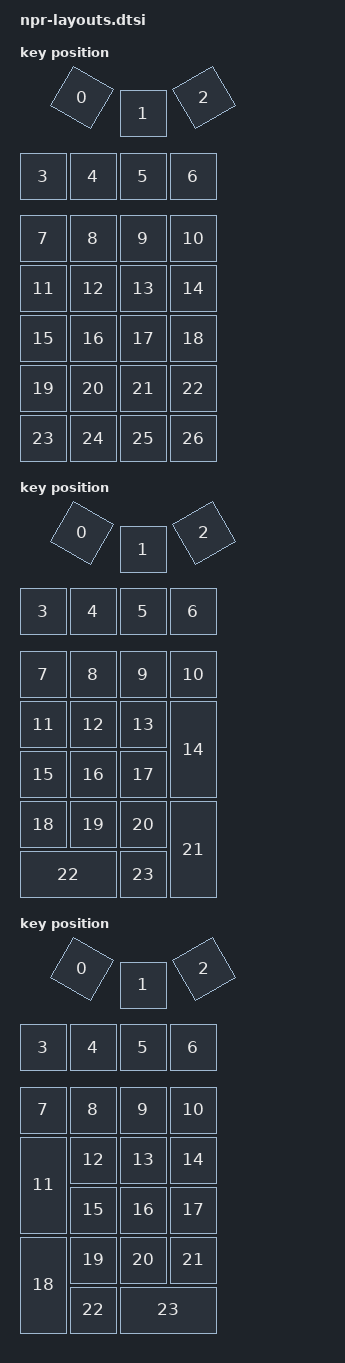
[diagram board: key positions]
#include <physical_layouts.dtsi>
/ {
    physical_layout0: physical_layout_0 {
        compatible = "zmk,physical-layout";
        display-name = "NP-R Full";
        kscan = <&kscan0>;
        transform = <&matrix_transform_full>;

        keys  //                     w   h    x    y     rot    rx    ry
            = <&key_physical_attrs 100 100  150    0    3000   225 (-100)>
            , <&key_physical_attrs 100 100  200    0       0     0     0>
            , <&key_physical_attrs 100 100  250    0 (-3000)   275 (-100)>
            , <&key_physical_attrs 100 100    0  125       0     0     0>
            , <&key_physical_attrs 100 100  100  125       0     0     0>
            , <&key_physical_attrs 100 100  200  125       0     0     0>
            , <&key_physical_attrs 100 100  300  125       0     0     0>
            , <&key_physical_attrs 100 100    0  250       0     0     0>
            , <&key_physical_attrs 100 100  100  250       0     0     0>
            , <&key_physical_attrs 100 100  200  250       0     0     0>
            , <&key_physical_attrs 100 100  300  250       0     0     0>
            , <&key_physical_attrs 100 100    0  350       0     0     0>
            , <&key_physical_attrs 100 100  100  350       0     0     0>
            , <&key_physical_attrs 100 100  200  350       0     0     0>
            , <&key_physical_attrs 100 100  300  350       0     0     0>
            , <&key_physical_attrs 100 100    0  450       0     0     0>
            , <&key_physical_attrs 100 100  100  450       0     0     0>
            , <&key_physical_attrs 100 100  200  450       0     0     0>
            , <&key_physical_attrs 100 100  300  450       0     0     0>
            , <&key_physical_attrs 100 100    0  550       0     0     0>
            , <&key_physical_attrs 100 100  100  550       0     0     0>
            , <&key_physical_attrs 100 100  200  550       0     0     0>
            , <&key_physical_attrs 100 100  300  550       0     0     0>
            , <&key_physical_attrs 100 100    0  650       0     0     0>
            , <&key_physical_attrs 100 100  100  650       0     0     0>
            , <&key_physical_attrs 100 100  200  650       0     0     0>
            , <&key_physical_attrs 100 100  300  650       0     0     0>
            ;
    };

    physical_layout1: physical_layout_1 {
        compatible = "zmk,physical-layout";
        display-name = "NP-R Standard";
        kscan = <&kscan0>;
        transform = <&matrix_transform_standard>;

        keys  //                     w   h    x    y     rot    rx    ry
            = <&key_physical_attrs 100 100  150    0    3000   225 (-100)>
            , <&key_physical_attrs 100 100  200    0       0     0     0>
            , <&key_physical_attrs 100 100  250    0 (-3000)   275 (-100)>
            , <&key_physical_attrs 100 100    0  125       0     0     0>
            , <&key_physical_attrs 100 100  100  125       0     0     0>
            , <&key_physical_attrs 100 100  200  125       0     0     0>
            , <&key_physical_attrs 100 100  300  125       0     0     0>
            , <&key_physical_attrs 100 100    0  250       0     0     0>
            , <&key_physical_attrs 100 100  100  250       0     0     0>
            , <&key_physical_attrs 100 100  200  250       0     0     0>
            , <&key_physical_attrs 100 100  300  250       0     0     0>
            , <&key_physical_attrs 100 100    0  350       0     0     0>
            , <&key_physical_attrs 100 100  100  350       0     0     0>
            , <&key_physical_attrs 100 100  200  350       0     0     0>
            , <&key_physical_attrs 100 200  300  350       0     0     0>
            , <&key_physical_attrs 100 100    0  450       0     0     0>
            , <&key_physical_attrs 100 100  100  450       0     0     0>
            , <&key_physical_attrs 100 100  200  450       0     0     0>
            , <&key_physical_attrs 100 100    0  550       0     0     0>
            , <&key_physical_attrs 100 100  100  550       0     0     0>
            , <&key_physical_attrs 100 100  200  550       0     0     0>
            , <&key_physical_attrs 100 200  300  550       0     0     0>
            , <&key_physical_attrs 200 100    0  650       0     0     0>
            , <&key_physical_attrs 100 100  200  650       0     0     0>
            ;
    };

    physical_layout2: physical_layout_2 {
        compatible = "zmk,physical-layout";
        display-name = "NP-R Mirror";
        kscan = <&kscan0>;
        transform = <&matrix_transform_mirror>;

        keys  //                     w   h    x    y     rot    rx    ry
            = <&key_physical_attrs 100 100  150    0    3000   225 (-100)>
            , <&key_physical_attrs 100 100  200    0       0     0     0>
            , <&key_physical_attrs 100 100  250    0 (-3000)   275 (-100)>
            , <&key_physical_attrs 100 100    0  125       0     0     0>
            , <&key_physical_attrs 100 100  100  125       0     0     0>
            , <&key_physical_attrs 100 100  200  125       0     0     0>
            , <&key_physical_attrs 100 100  300  125       0     0     0>
            , <&key_physical_attrs 100 100    0  250       0     0     0>
            , <&key_physical_attrs 100 100  100  250       0     0     0>
            , <&key_physical_attrs 100 100  200  250       0     0     0>
            , <&key_physical_attrs 100 100  300  250       0     0     0>
            , <&key_physical_attrs 100 200    0  350       0     0     0>
            , <&key_physical_attrs 100 100  100  350       0     0     0>
            , <&key_physical_attrs 100 100  200  350       0     0     0>
            , <&key_physical_attrs 100 100  300  350       0     0     0>
            , <&key_physical_attrs 100 100  100  450       0     0     0>
            , <&key_physical_attrs 100 100  200  450       0     0     0>
            , <&key_physical_attrs 100 100  300  450       0     0     0>
            , <&key_physical_attrs 100 200    0  550       0     0     0>
            , <&key_physical_attrs 100 100  100  550       0     0     0>
            , <&key_physical_attrs 100 100  200  550       0     0     0>
            , <&key_physical_attrs 100 100  300  550       0     0     0>
            , <&key_physical_attrs 100 100  100  650       0     0     0>
            , <&key_physical_attrs 200 100  200  650       0     0     0>
            ;
    };

    position_map {
        compatible = "zmk,physical-layout-position-map";

        physical_layout0 {
            physical-layout = <&physical_layout0>;
            positions = <11 14 19 22 23 25 12 13 15 16 17 20 21>;
        };

        physical_layout1 {
            physical-layout = <&physical_layout1>;
            positions = <11 14 18 21 22 23 12 13 15 16 17 19 20>;
        };

        physical_layout2 {
            physical-layout = <&physical_layout2>;
            positions = <12 11 19 18 23 22 13 14 15 16 17 20 21>;
        };
    };
};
